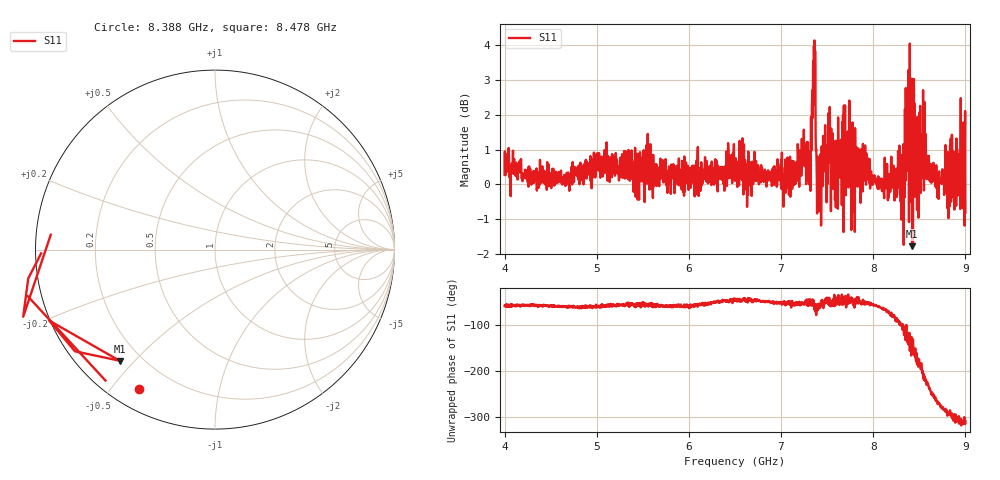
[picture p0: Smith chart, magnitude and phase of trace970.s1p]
! Created with skrf 1.8.0 (http://scikit-rf.org).
# Hz S RI R 50.0
!freq ReS11 ImS11
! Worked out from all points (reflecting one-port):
!   1601 points, 4 GHz to 9 GHz, reference 50 ohm
!   lowest |S11| = -1.8 dB at 8.422 GHz (marker M1), VSWR 9.81, Z = 6.17 - j22.9 ohm
!   phase of S11 starts at -58 deg and turns -251 deg over the sweep
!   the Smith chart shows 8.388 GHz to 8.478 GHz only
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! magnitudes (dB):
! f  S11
! 4 GHz  0.3
! 4.625 GHz  0.0
! 5.25 GHz  0.2
! 5.875 GHz  0.3
! 6.5 GHz  0.1
! 7.125 GHz  0.5
! 7.297 GHz  0.9
! 7.319 GHz  -0.2
! 7.35 GHz  3.6
! 7.372 GHz  3.3
! 7.4 GHz  0.6
! 7.412 GHz  0.1
! 7.462 GHz  0.6
! 7.538 GHz  1.2
! 7.591 GHz  1.3
! 7.669 GHz  1.4
! 7.75 GHz  0.0
! 8.312 GHz  0.9
! 8.375 GHz  1.5
! 8.422 GHz  -1.8
! 8.447 GHz  2.3
! 8.459 GHz  -0.3
! 8.481 GHz  1.4
! 8.553 GHz  0.4
! 8.606 GHz  0.5
! 8.712 GHz  0.3
! 8.972 GHz  0.7
! 9 GHz  -0.8
